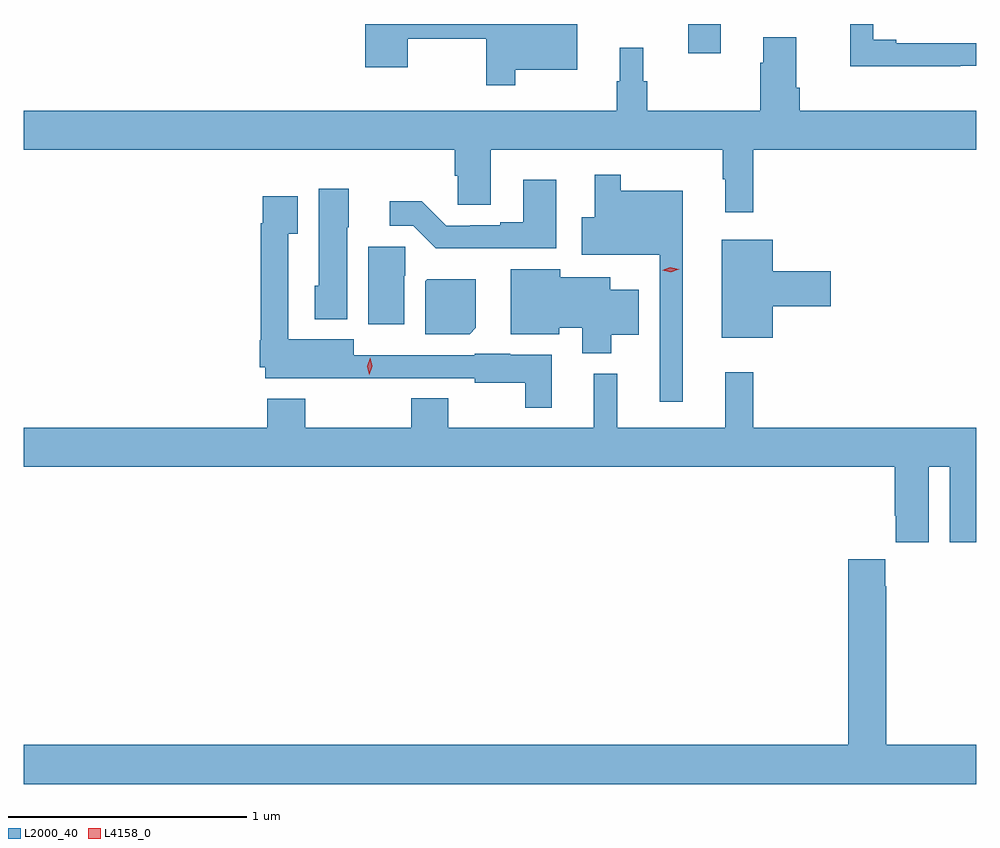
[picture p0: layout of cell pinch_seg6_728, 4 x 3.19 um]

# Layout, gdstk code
import gdstk
lib = gdstk.Library(unit=1e-6, precision=1e-09)
def R(c, l, rs):  # rectangles x0, y0, x1, y1
    for r in rs: c.add(gdstk.rectangle(r[:2], r[2:], *l))
def P(c, l, *ps):  # polygons
    for p in ps: c.add(gdstk.Polygon(p, *l))
L2000_40 = (2000, 40)
L4158_0 = (4158, 0)

pinch_seg6_728 = lib.new_cell('pinch_seg6_728')
R(pinch_seg6_728, L2000_40, [(507.903,927.762,508.039,927.884)])
P(pinch_seg6_728, L2000_40, [(507.175,927.692),(507.436,927.692),(507.436,927.884),(506.546,927.884),(506.546,927.702),(506.724,927.702),(506.724,927.822),(507.054,927.822),(507.054,927.627),(507.175,927.627)],
  [(509.045,927.708),(509.112,927.708),(509.112,927.804),(508.777,927.804),(508.777,927.817),(508.68,927.817),(508.68,927.884),(508.582,927.884),(508.582,927.707),(509.045,927.707)],
  [(508.175,927.356),(509.112,927.356),(509.112,927.52),(508.37,927.52),(508.37,927.616),(508.357,927.616),(508.357,927.829),(508.217,927.829),(508.217,927.722),(508.205,927.722),(508.205,927.52),(507.731,927.52),(507.731,927.644),(507.713,927.644),(507.713,927.784),(507.614,927.784),(507.614,927.644),(507.603,927.644),(507.603,927.52),(505.112,927.52),(505.112,927.356),(506.921,927.356),(506.921,927.246),(506.934,927.246),(506.934,927.124),(507.073,927.124),(507.073,927.356),(508.047,927.356),(508.047,927.233),(508.058,927.233),(508.058,927.093),(508.175,927.093)],
  [(507.88,927.184),(507.619,927.184),(507.619,927.25),(507.509,927.25),(507.509,927.073),(507.456,927.073),(507.456,926.915),(507.783,926.915),(507.783,926.298),(507.88,926.298)],
  [(507.349,927.229),(507.209,927.229),(507.209,927.052),(507.113,927.052),(507.113,927.039),(506.986,927.039),(506.986,927.036),(506.886,927.036),(506.784,927.139),(506.649,927.139),(506.649,927.036),(506.748,927.036),(506.843,926.942),(507.349,926.942)],
  [(506.47,927.03),(506.476,927.03),(506.476,927.193),(506.351,927.193),(506.351,926.784),(506.333,926.784),(506.333,926.645),(506.47,926.645)],
  [(507.329,926.494),(507.156,926.494),(507.156,926.5),(507.006,926.5),(507.006,926.493),(506.497,926.493),(506.497,926.56),(506.223,926.56),(506.223,927.004),(506.263,927.004),(506.263,927.16),(506.115,927.16),(506.115,927.047),(506.107,927.047),(506.107,926.556),(506.102,926.556),(506.102,926.442),(506.126,926.442),(506.126,926.396),(506.489,926.396),(506.489,926.397),(507.006,926.397),(507.006,926.378),(507.219,926.378),(507.219,926.273),(507.329,926.273)],
  [(508.258,926.699),(508.501,926.699),(508.501,926.846),(508.258,926.846),(508.258,926.977),(508.043,926.977),(508.043,926.567),(508.258,926.567)],
  [(506.71,926.826),(506.714,926.826),(506.714,926.949),(506.558,926.949),(506.558,926.622),(506.71,926.622)],
  [(507.58,926.579),(507.694,926.579),(507.694,926.767),(507.574,926.767),(507.574,926.821),(507.364,926.821),(507.364,926.854),(507.158,926.854),(507.158,926.582),(507.36,926.582),(507.36,926.609),(507.458,926.609),(507.458,926.501),(507.58,926.501)],
  [(507.01,926.608),(507.01,926.812),(506.806,926.812),(506.798,926.804),(506.798,926.582),(506.984,926.582)],
  [(508.912,926.024),(509,926.024),(509,925.707),(509.112,925.707),(509.112,926.188),(508.175,926.188),(508.175,926.422),(508.058,926.422),(508.058,926.188),(507.605,926.188),(507.605,926.416),(507.506,926.416),(507.506,926.188),(506.895,926.188),(506.895,926.312),(506.74,926.312),(506.74,926.188),(506.295,926.188),(506.295,926.311),(506.135,926.311),(506.135,926.188),(505.112,926.188),(505.112,926.024),(508.769,926.024),(508.769,925.819),(508.775,925.819),(508.775,925.707),(508.912,925.707)],
  [(509.112,924.856),(508.734,924.856),(508.734,925.523),(508.729,925.523),(508.729,925.636),(508.574,925.636),(508.574,924.856),(505.112,924.856),(505.112,924.692),(509.112,924.692)])
P(pinch_seg6_728, L4158_0, [(506.563,926.41),(506.563,926.41),(506.555,926.447),(506.566,926.482),(506.567,926.482),(506.567,926.482),(506.575,926.446),(506.563,926.41)],
  [(507.83,926.842),(507.794,926.85),(507.794,926.85),(507.794,926.85),(507.828,926.862),(507.864,926.854),(507.864,926.853),(507.864,926.853)])

lib.write_gds('pinch_seg6_728.gds')
